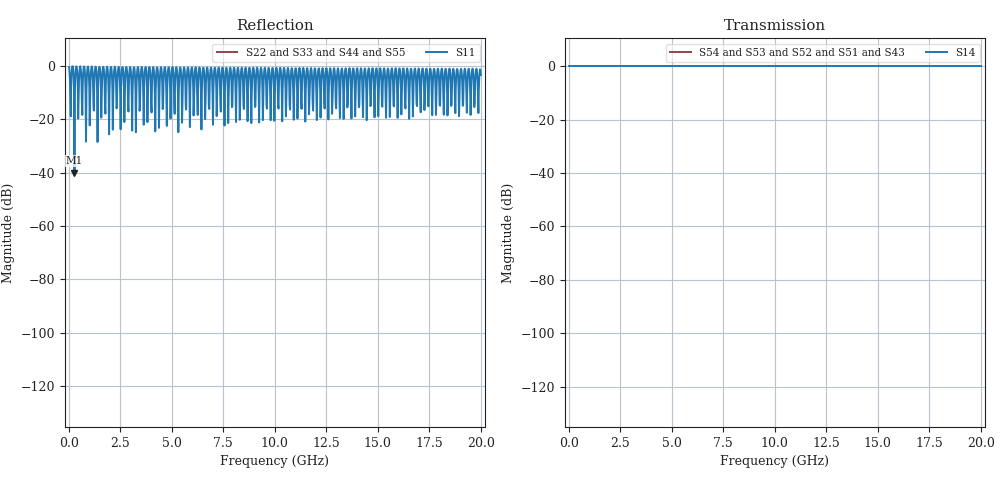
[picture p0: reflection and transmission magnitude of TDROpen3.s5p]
! File created by SignalIntegrity v1.3.3: Signal and Power Integrity Tools
! https://github.com/TeledyneLeCroy/SignalIntegrity
# MHz S MA R 50.0
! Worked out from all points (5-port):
!   1000 points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, 20 MHz to 20 GHz, reference 50 ohm
!   strongest paths, dB at 20 MHz, 5.02 GHz, 10.02 GHz, 15.02 GHz, 20 GHz:
!     S14: 0.0, 0.0, 0.0, 0.0, 0.0
!     S54: -, -, -, -, -
!     S53: -, -, -, -, -
!     S52: -, -, -, -, -
!     S51: -, -, -, -, -
!     S43: -, -, -, -, -
!   lowest |S11| = -40.0 dB at 280 MHz (marker M1), VSWR 1.02, Z = 50.8 - j0.635 ohm
!   |S11| at or under -10 dB: 5.297 GHz to 5.34 GHz (43.4 MHz wide, 0.816 % of centre); 6.417 GHz to 6.461 GHz (43.09 MHz wide, 0.669 % of centre); 11.45887 GHz to 11.50013 GHz (41.27 MHz wide, 0.36 % of centre) (the widest 3 of 107)
